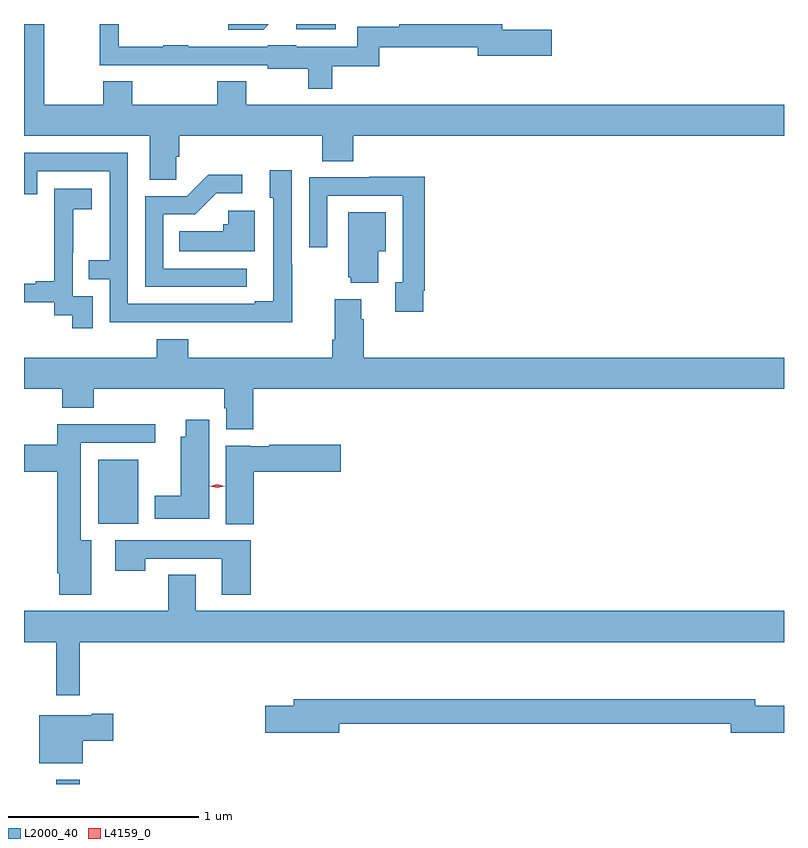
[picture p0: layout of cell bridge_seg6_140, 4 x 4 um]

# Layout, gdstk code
import gdstk
lib = gdstk.Library(unit=1e-6, precision=1e-09)
def R(c, l, rs):  # rectangles x0, y0, x1, y1
    for r in rs: c.add(gdstk.rectangle(r[:2], r[2:], *l))
def P(c, l, *ps):  # polygons
    for p in ps: c.add(gdstk.Polygon(p, *l))
L2000_40 = (2000, 40)
L4159_0 = (4159, 0)

bridge_seg6_140 = lib.new_cell('bridge_seg6_140')
R(bridge_seg6_140, L2000_40, [(561.395,925.277,561.517,925.3), (561.614,926.648,561.826,926.983), (562.658,929.249,562.864,929.277)])
P(bridge_seg6_140, L2000_40, [(562.847,929.054),(563.093,929.054),(563.093,929.154),(563.612,929.154),(563.612,929.111),(564.001,929.111),(564.001,929.246),(563.74,929.246),(563.74,929.277),(563.2,929.277),(563.2,929.262),(562.977,929.262),(562.977,929.158),(562.656,929.158),(562.656,929.164),(562.506,929.164),(562.506,929.157),(562.089,929.157),(562.089,929.164),(561.957,929.164),(561.957,929.158),(561.723,929.158),(561.723,929.277),(561.622,929.277),(561.622,929.061),(561.857,929.061),(561.857,929.06),(562.089,929.06),(562.089,929.061),(562.506,929.061),(562.506,929.042),(562.719,929.042),(562.719,928.937),(562.847,928.937)],
  [(562.026,928.579),(562.04,928.579),(562.04,928.688),(562.793,928.688),(562.793,928.555),(562.958,928.555),(562.958,928.688),(565.224,928.688),(565.224,928.852),(562.395,928.852),(562.395,928.976),(562.24,928.976),(562.24,928.852),(561.795,928.852),(561.795,928.976),(561.64,928.976),(561.64,928.852),(561.331,928.852),(561.331,929.277),(561.224,929.277),(561.224,928.688),(561.887,928.688),(561.887,928.456),(562.026,928.456)],
  [(562.51,929.272),(562.51,929.277),(562.298,929.277),(562.298,929.246),(562.484,929.246)],
  [(562.635,928.013),(562.632,928.013),(562.632,928.507),(562.517,928.507),(562.517,928.362),(562.536,928.362),(562.536,928.01),(562.535,928.01),(562.535,927.817),(562.439,927.817),(562.439,927.804),(561.771,927.804),(561.771,928.599),(561.224,928.599),(561.224,928.38),(561.294,928.38),(561.294,928.503),(561.675,928.503),(561.675,928.034),(561.565,928.034),(561.565,927.933),(561.675,927.933),(561.675,927.708),(562.171,927.708),(562.171,927.707),(562.635,927.707)],
  [(562.396,927.99),(561.957,927.99),(561.957,928.275),(562.126,928.275),(562.237,928.386),(562.372,928.386),(562.372,928.484),(562.193,928.484),(562.08,928.371),(561.861,928.371),(561.861,927.894),(562.396,927.894)],
  [(563.326,927.874),(563.333,927.874),(563.333,928.472),(563.041,928.472),(563.041,928.47),(562.725,928.47),(562.725,928.101),(562.821,928.101),(562.821,928.374),(563.217,928.374),(563.217,927.918),(563.177,927.918),(563.177,927.762),(563.326,927.762)],
  [(561.585,927.843),(561.48,927.843),(561.48,928.073),(561.482,928.073),(561.482,928.301),(561.58,928.301),(561.58,928.411),(561.382,928.411),(561.382,928.205),(561.383,928.205),(561.383,927.922),(561.287,927.922),(561.287,927.909),(561.224,927.909),(561.224,927.813),(561.384,927.813),(561.384,927.745),(561.477,927.745),(561.477,927.675),(561.585,927.675)],
  [(562.438,928.294),(562.299,928.294),(562.299,928.224),(562.273,928.224),(562.273,928.186),(562.042,928.186),(562.042,928.082),(562.438,928.082)],
  [(563.089,928.082),(563.128,928.082),(563.128,928.285),(562.931,928.285),(562.931,927.945),(562.943,927.945),(562.943,927.914),(563.089,927.914)],
  [(561.923,927.619),(561.923,927.52),(561.224,927.52),(561.224,927.356),(561.425,927.356),(561.425,927.257),(561.59,927.257),(561.59,927.356),(562.277,927.356),(562.277,927.255),(562.289,927.255),(562.289,927.143),(562.43,927.143),(562.43,927.356),(565.224,927.356),(565.224,927.52),(563.012,927.52),(563.012,927.722),(562.999,927.722),(562.999,927.829),(562.859,927.829),(562.859,927.616),(562.847,927.616),(562.847,927.52),(562.088,927.52),(562.088,927.619)],
  [(562.198,927.193),(562.076,927.193),(562.076,927.105),(562.049,927.105),(562.049,926.794),(561.911,926.794),(561.911,926.672),(562.198,926.672)],
  [(561.577,926.56),(561.523,926.56),(561.523,927.072),(561.916,927.072),(561.916,927.17),(561.398,927.17),(561.398,927.063),(561.224,927.063),(561.224,926.921),(561.398,926.921),(561.398,926.386),(561.41,926.386),(561.41,926.274),(561.577,926.274)],
  [(562.433,926.921),(562.891,926.921),(562.891,927.063),(562.516,927.063),(562.516,927.055),(562.416,927.055),(562.416,927.058),(562.286,927.058),(562.286,926.644),(562.433,926.644)],
  [(562.418,926.559),(561.705,926.559),(561.705,926.4),(561.861,926.4),(561.861,926.463),(562.265,926.463),(562.265,926.274),(562.418,926.274)],
  [(561.517,926.024),(565.224,926.024),(565.224,926.188),(562.129,926.188),(562.129,926.378),(561.982,926.378),(561.982,926.188),(561.224,926.188),(561.224,926.024),(561.395,926.024),(561.395,925.743),(561.517,925.743)],
  [(562.882,925.594),(564.944,925.594),(564.944,925.547),(565.224,925.547),(565.224,925.689),(565.072,925.689),(565.072,925.723),(562.643,925.723),(562.643,925.689),(562.494,925.689),(562.494,925.547),(562.882,925.547)],
  [(561.532,925.505),(561.694,925.505),(561.694,925.647),(561.581,925.647),(561.581,925.639),(561.305,925.639),(561.305,925.385),(561.532,925.385)])
P(bridge_seg6_140, L4159_0, [(562.241,926.835),(562.201,926.844),(562.201,926.845),(562.201,926.845),(562.241,926.855),(562.281,926.845),(562.281,926.845),(562.281,926.844)])

lib.write_gds('bridge_seg6_140.gds')
